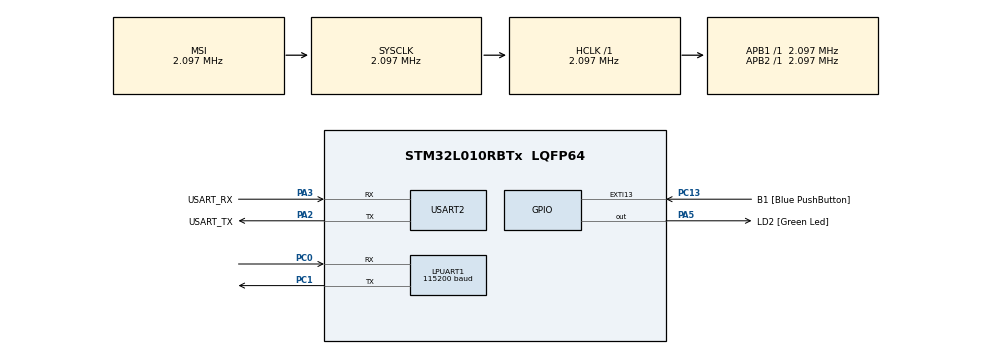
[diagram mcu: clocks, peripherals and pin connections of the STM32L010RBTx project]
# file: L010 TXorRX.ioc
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LPUART1.BaudRate=115200
LPUART1.WordLength=UART_WORDLENGTH_8B
Mcu.Family=STM32L0
Mcu.Name=STM32L010RBTx
Mcu.Package=LQFP64
NVIC.LPUART1_IRQn=true\:0\:0\:false\:false\:true\:true\:true\:true
PA13.GPIO_Label=TMS
PA13.Mode=Serial_Wire
PA13.Signal=SYS_SWDIO
PA14.GPIO_Label=TCK
PA14.Mode=Serial_Wire
PA14.Signal=SYS_SWCLK
PA2.GPIO_Label=USART_TX
PA2.Mode=Asynchronous
PA2.Signal=USART2_TX
PA3.GPIO_Label=USART_RX
PA3.Mode=Asynchronous
PA3.Signal=USART2_RX
PA5.GPIO_Label=LD2 [Green Led]
PA5.Signal=GPIO_Output
PC0.Mode=Asynchronous
PC0.Signal=LPUART1_RX
PC1.Mode=Asynchronous
PC1.Signal=LPUART1_TX
PC13.GPIO_Label=B1 [Blue PushButton]
PC13.GPIO_ModeDefaultEXTI=GPIO_MODE_IT_FALLING
PC13.Signal=GPXTI13
PC14-OSC32_IN.Mode=LSE-External-Oscillator
PC14-OSC32_IN.Signal=RCC_OSC32_IN
PC15-OSC32_OUT.Mode=LSE-External-Oscillator
PC15-OSC32_OUT.Signal=RCC_OSC32_OUT
PH0-OSC_IN.GPIO_Label=MCO
PH0-OSC_IN.Mode=HSE-External-Clock-Source
PH0-OSC_IN.Signal=RCC_OSC_IN
ProjectManager.HeapSize=0x200
ProjectManager.StackSize=0x400
ProjectManager.TargetToolchain=STM32CubeIDE
RCC.AHBFreq_Value=2097000
RCC.APB1Freq_Value=2097000
RCC.APB1TimFreq_Value=2097000
RCC.APB2Freq_Value=2097000
RCC.APB2TimFreq_Value=2097000
RCC.HSE_VALUE=8000000
RCC.HSI16_VALUE=16000000
RCC.HSI48_VALUE=48000000
RCC.HSI_VALUE=16000000
RCC.MSI_VALUE=2097000
RCC.SYSCLKFreq_VALUE=2097000
RCC.VCOOutputFreq_Value=48000000
USART2.VirtualMode-Asynchronous=VM_ASYNC
board=NUCLEO-L010RB

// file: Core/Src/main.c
/* USER CODE BEGIN Header */
/**
  ******************************************************************************
  * @file           : main.c
  * @brief          : Main program body
  ******************************************************************************
  * @attention
  *
  * Copyright (c) 2026 STMicroelectronics.
  * All rights reserved.
  *
  * This software is licensed under terms that can be found in the LICENSE file
  * in the root directory of this software component.
  * If no LICENSE file comes with this software, it is provided AS-IS.
  *
  ******************************************************************************
  */
/* USER CODE END Header */
#include "main.h"

/* USER CODE BEGIN Includes */
#include <stdio.h>
#include <string.h>
#include <usart.h>
/* USER CODE END Includes */

UART_HandleTypeDef hlpuart1;
UART_HandleTypeDef huart2;

/* USER CODE BEGIN PV */
uint8_t rx_buf[36];

/* USER CODE END PV */

void SystemClock_Config(void);
static void MX_GPIO_Init(void);
static void MX_LPUART1_UART_Init(void);
static void MX_USART2_UART_Init(void);

/* USER CODE BEGIN 0 */
int __io_putchar(int ch)
{
    HAL_UART_Transmit(&hlpuart1, (uint8_t *)&ch, 1, HAL_MAX_DELAY);
    return ch;
}

/* USER CODE END 0 */

int main(void)
{

  /* MCU Configuration--------------------------------------------------------*/

  /* Reset of all peripherals, Initializes the Flash interface and the Systick. */
  HAL_Init();

  /* Configure the system clock */
  SystemClock_Config();

  /* Initialize all configured peripherals */
  MX_GPIO_Init();
  MX_LPUART1_UART_Init();
  MX_USART2_UART_Init();
  /* USER CODE BEGIN 2 */
  char msg[] = "Hello World from LPUART1!\r\n";
  HAL_UART_Transmit(&hlpuart1,
                    (uint8_t *)msg,
                    strlen(msg),
                    HAL_MAX_DELAY);

  printf("Echo test ready! Type something...\r\n");

  /* USER CODE END 2 */

  /* Infinite loop */
  /* USER CODE BEGIN WHILE */
  // Direct string test

  while (1)
  {

    /* USER CODE END WHILE */

    /* USER CODE BEGIN 3 */
	    /* USART2 --> LPUART1 */
	  if(HAL_UART_Receive(&huart2, &rx, 1, 1) == HAL_OK)
	      {
	          HAL_UART_Transmit(&hlpuart1, &rx, 1, HAL_MAX_DELAY);
	      }

	      if(HAL_UART_Receive(&hlpuart1, &rx, 1, 1) == HAL_OK)
	      {
	          HAL_UART_Transmit(&huart2, &rx, 1, HAL_MAX_DELAY);
	      }
  /* USER CODE END 3 */
}

void SystemClock_Config(void)
{
  RCC_OscInitTypeDef RCC_OscInitStruct = {0};
  RCC_ClkInitTypeDef RCC_ClkInitStruct = {0};
  RCC_PeriphCLKInitTypeDef PeriphClkInit = {0};

  /** Configure the main internal regulator output voltage
  */
  __HAL_PWR_VOLTAGESCALING_CONFIG(PWR_REGULATOR_VOLTAGE_SCALE1);

  /** Initializes the RCC Oscillators according to the specified parameters
  * in the RCC_OscInitTypeDef structure.
  */
  RCC_OscInitStruct.OscillatorType = RCC_OSCILLATORTYPE_MSI;
  RCC_OscInitStruct.MSIState = RCC_MSI_ON;
  RCC_OscInitStruct.MSICalibrationValue = 0;
  RCC_OscInitStruct.MSIClockRange = RCC_MSIRANGE_5;
  RCC_OscInitStruct.PLL.PLLState = RCC_PLL_NONE;
  if (HAL_RCC_OscConfig(&RCC_OscInitStruct) != HAL_OK)
  {
    Error_Handler();
  }

  /** Initializes the CPU, AHB and APB buses clocks
  */
  RCC_ClkInitStruct.ClockType = RCC_CLOCKTYPE_HCLK|RCC_CLOCKTYPE_SYSCLK
                              |RCC_CLOCKTYPE_PCLK1|RCC_CLOCKTYPE_PCLK2;
  RCC_ClkInitStruct.SYSCLKSource = RCC_SYSCLKSOURCE_MSI;
  RCC_ClkInitStruct.AHBCLKDivider = RCC_SYSCLK_DIV1;
  RCC_ClkInitStruct.APB1CLKDivider = RCC_HCLK_DIV1;
  RCC_ClkInitStruct.APB2CLKDivider = RCC_HCLK_DIV1;

  if (HAL_RCC_ClockConfig(&RCC_ClkInitStruct, FLASH_LATENCY_0) != HAL_OK)
  {
    Error_Handler();
  }
  PeriphClkInit.PeriphClockSelection = RCC_PERIPHCLK_USART2|RCC_PERIPHCLK_LPUART1;
  PeriphClkInit.Usart2ClockSelection = RCC_USART2CLKSOURCE_PCLK1;
  PeriphClkInit.Lpuart1ClockSelection = RCC_LPUART1CLKSOURCE_PCLK1;
  if (HAL_RCCEx_PeriphCLKConfig(&PeriphClkInit) != HAL_OK)
  {
    Error_Handler();
  }
}

static void MX_LPUART1_UART_Init(void)
{

  hlpuart1.Instance = LPUART1;
  hlpuart1.Init.BaudRate = 115200;
  hlpuart1.Init.WordLength = UART_WORDLENGTH_8B;
  hlpuart1.Init.StopBits = UART_STOPBITS_1;
  hlpuart1.Init.Parity = UART_PARITY_NONE;
  hlpuart1.Init.Mode = UART_MODE_TX_RX;
  hlpuart1.Init.HwFlowCtl = UART_HWCONTROL_NONE;
  hlpuart1.Init.OneBitSampling = UART_ONE_BIT_SAMPLE_DISABLE;
  hlpuart1.AdvancedInit.AdvFeatureInit = UART_ADVFEATURE_NO_INIT;
  if (HAL_UART_Init(&hlpuart1) != HAL_OK)
  {
    Error_Handler();
  }

}

static void MX_USART2_UART_Init(void)
{

  huart2.Instance = USART2;
  huart2.Init.BaudRate = 115200;
  huart2.Init.WordLength = UART_WORDLENGTH_8B;
  huart2.Init.StopBits = UART_STOPBITS_1;
  huart2.Init.Parity = UART_PARITY_NONE;
  huart2.Init.Mode = UART_MODE_TX_RX;
  huart2.Init.HwFlowCtl = UART_HWCONTROL_NONE;
  huart2.Init.OverSampling = UART_OVERSAMPLING_16;
  huart2.Init.OneBitSampling = UART_ONE_BIT_SAMPLE_DISABLE;
  huart2.AdvancedInit.AdvFeatureInit = UART_ADVFEATURE_NO_INIT;
  if (HAL_UART_Init(&huart2) != HAL_OK)
  {
    Error_Handler();
  }

}

static void MX_GPIO_Init(void)
{
  GPIO_InitTypeDef GPIO_InitStruct = {0};

  /* GPIO Ports Clock Enable */
  __HAL_RCC_GPIOC_CLK_ENABLE();
  __HAL_RCC_GPIOH_CLK_ENABLE();
  __HAL_RCC_GPIOA_CLK_ENABLE();

  /*Configure GPIO pin Output Level */
  HAL_GPIO_WritePin(LD2_GPIO_Port, LD2_Pin, GPIO_PIN_RESET);

  /*Configure GPIO pin : B1_Pin */
  GPIO_InitStruct.Pin = B1_Pin;
  GPIO_InitStruct.Mode = GPIO_MODE_IT_FALLING;
  GPIO_InitStruct.Pull = GPIO_NOPULL;
  HAL_GPIO_Init(B1_GPIO_Port, &GPIO_InitStruct);

  /*Configure GPIO pin : LD2_Pin */
  GPIO_InitStruct.Pin = LD2_Pin;
  GPIO_InitStruct.Mode = GPIO_MODE_OUTPUT_PP;
  GPIO_InitStruct.Pull = GPIO_NOPULL;
  GPIO_InitStruct.Speed = GPIO_SPEED_FREQ_LOW;
  HAL_GPIO_Init(LD2_GPIO_Port, &GPIO_InitStruct);

}

void Error_Handler(void)
{
  __disable_irq();
  while (1)
  {
  }
}
